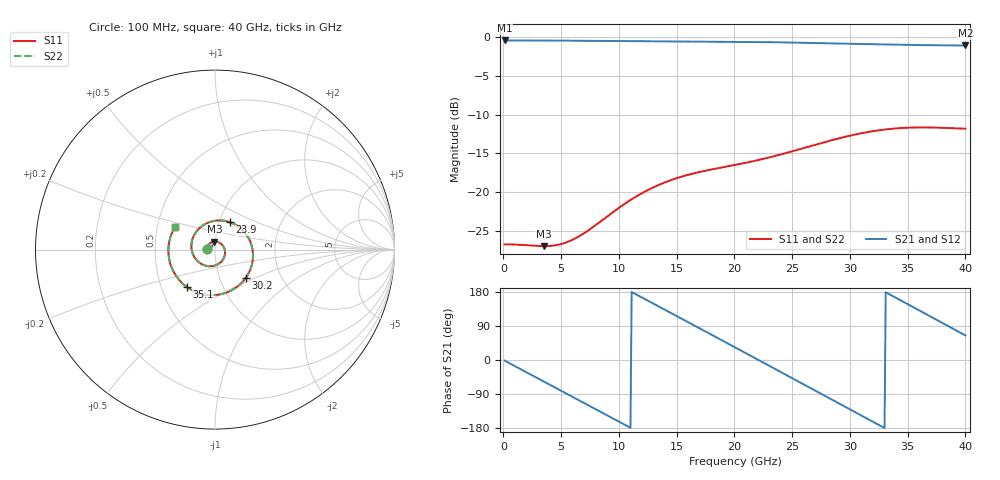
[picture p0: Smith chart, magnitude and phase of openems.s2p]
! P_ts6_pad_cut: 0402 capacitor pad on a 50 Ω microstrip, L2 plane cut out under it (next plane L5, 1.14 mm)
! stackup: ThunderScope Rev5.3 6-layer (FR408HR / FR-4, from the board file)
! ports: 1, 2
! openEMS 0.37.0, staircase, fine mesh (dfine 0.0175 mm), 1388760 cells
# Hz S RI R 50
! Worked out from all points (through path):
!   400 points, 100 MHz to 40 GHz, reference 50 ohm
!   highest |S21| = -0.41 dB at 100 MHz (marker M1); lowest = -1.1 dB at 40 GHz (marker M2)
!   group delay of S21, straight-line fit = 45.5 ps
!   lowest |S11| = -27.0 dB at 3.5 GHz (marker M3), VSWR 1.09, Z = 49.5 + j4.41 ohm
!   |S11| at or under -10 dB: start of sweep to end of sweep
!   |S22| runs from -27.0 to -11.6 dB; largest |S21 - S12| = 0
!   S11 on the Smith chart (normalised r, x): 100 MHz: 0.91, +0.00; 23.9 GHz: 1.12, +0.35; 30.2 GHz: 1.33, -0.44; 35.1 GHz: 0.67, -0.30; 40 GHz: 0.62, +0.17
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1e8  -0.0458 0.00185  0.9536 -0.0271  0.9536 -0.0271  -0.0458 0.00185
1.7e9  -0.0348 0.0292  0.8445 -0.4429  0.8445 -0.4429  -0.0348 0.0292
3.5e9  -0.00349 0.0445  0.5193 -0.7987  0.5193 -0.7987  -0.00349 0.0445
5.2e9  0.031 0.0347  0.089 -0.9471  0.089 -0.9471  0.031 0.0347
6.8e9  0.0529 0.00428  -0.3348 -0.8885  -0.3348 -0.8885  0.0529 0.00428
1.02e10  0.022 -0.0779  -0.9172 -0.2303  -0.9172 -0.2303  0.022 -0.0779
1.18e10  -0.0258 -0.0929  -0.9236 0.1949  -0.9236 0.1949  -0.0258 -0.0929
1.34e10  -0.0774 -0.0791  -0.7431 0.5797  -0.7431 0.5797  -0.0774 -0.0791
1.51e10  -0.1182 -0.0358  -0.3875 0.8572  -0.3875 0.8572  -0.1182 -0.0358
1.67e10  -0.1316 0.0206  0.0291 0.9382  0.0291 0.9382  -0.1316 0.0206
1.83e10  -0.1174 0.0783  0.4384 0.8282  0.4384 0.8282  -0.1174 0.0783
2.01e10  -0.0731 0.1307  0.7878 0.5043  0.7878 0.5043  -0.0731 0.1307
2.2e10  -0.00203 0.1604  0.9323 0.0228  0.9323 0.0228  -0.00203 0.1604
2.39e10  0.0827 0.153  0.8047 -0.4623  0.8047 -0.4623  0.0827 0.153
2.67e10  0.1906 0.0573  0.2231 -0.8914  0.2231 -0.8914  0.1906 0.0573
2.84e10  0.2114 -0.0436  -0.219 -0.8865  -0.219 -0.8865  0.2114 -0.0436
3.02e10  0.172 -0.1571  -0.6242 -0.6587  -0.6242 -0.6587  0.172 -0.1571
3.18e10  0.0837 -0.2312  -0.847 -0.3119  -0.847 -0.3119  0.0837 -0.2312
3.34e10  -0.035 -0.2529  -0.8926 0.0958  -0.8926 0.0958  -0.035 -0.2529
3.51e10  -0.1578 -0.2074  -0.7393 0.5008  -0.7393 0.5008  -0.1578 -0.2074
3.76e10  -0.2564 -0.0463  -0.2249 0.8588  -0.2249 0.8588  -0.2564 -0.0463
4e10  -0.2234 0.126  0.3758 0.8012  0.3758 0.8012  -0.2234 0.126
